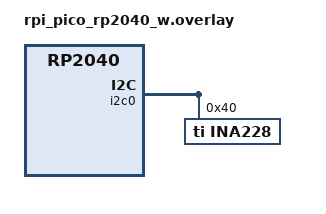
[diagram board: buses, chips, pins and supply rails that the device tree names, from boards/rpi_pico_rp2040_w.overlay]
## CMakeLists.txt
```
# Copyright (c) 2025 Jonas Berg
# SPDX-License-Identifier: Apache-2.0

cmake_minimum_required(VERSION 3.20.0)
find_package(Zephyr REQUIRED HINTS $ENV{ZEPHYR_BASE})

project(ina228)

target_sources(app
  PRIVATE
  src/main.c
)
```

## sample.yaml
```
# Copyright (c) 2025 Jonas Berg
# SPDX-License-Identifier: Apache-2.0

sample:
  name: TI INA228 Power/Energy/Charge Monitor
tests:
  sample.drivers.ina228:
    build_only: true
    platform_allow: rpi_pico/rp2040/w
    tags: sensors
```

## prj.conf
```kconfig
# Copyright (c) 2025 Jonas Berg
# SPDX-License-Identifier: Apache-2.0

CONFIG_STDOUT_CONSOLE=y
CONFIG_CBPRINTF_FP_SUPPORT=y
CONFIG_I2C=y
CONFIG_SENSOR=y

CONFIG_INA228_VSHUNT=y
CONFIG_INA228_TEMPERATURE=y
CONFIG_INA228_CUMULATIVE=y
```

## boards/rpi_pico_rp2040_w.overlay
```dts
/*
 * Copyright (c) 2025 Jonas Berg
 *
 * SPDX-License-Identifier: Apache-2.0
 */

&i2c0 {
	status = "okay";

	ina228@40 {
		compatible = "ti,ina228";
		reg = <0x40>;
		rshunt-micro-ohms = <15000>;
		lsb-nanoamp = <20000>;
		status = "okay";
	};

};
```

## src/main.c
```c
/*
 * Copyright (c) 2025 Jonas Berg
 *
 * SPDX-License-Identifier: Apache-2.0
 */

#include <stdio.h>
#include <zephyr/drivers/sensor.h>
#include <zephyr/kernel.h>

int main(void)
{
	const struct device *const curr_sensor = DEVICE_DT_GET_ONE(ti_ina228);

	struct sensor_value bus_voltage = {0};
	struct sensor_value charge = {0};
	struct sensor_value current = {0};
	struct sensor_value energy = {0};
	struct sensor_value power = {0};
	struct sensor_value shunt_voltage = {0};
	struct sensor_value temperature = {0};
	int err;

	if (!device_is_ready(curr_sensor)) {
		printf("Sensor %s is not ready.\n", curr_sensor->name);
		return -1;
	}

	while (true) {
		err = sensor_sample_fetch(curr_sensor);
		if (err) {
			printf("Failed to fetch sensor data.\n");
			return -1;
		}

		if (sensor_channel_get(curr_sensor, SENSOR_CHAN_VOLTAGE, &bus_voltage)) {
			printf("Failed to get bus_voltage\n");
		}
		if (sensor_channel_get(curr_sensor, SENSOR_CHAN_CHARGE, &charge)) {
			printf("Failed to get charge\n");
		}
		if (sensor_channel_get(curr_sensor, SENSOR_CHAN_CURRENT, &current)) {
			printf("Failed to get current\n");
		}
		if (sensor_channel_get(curr_sensor, SENSOR_CHAN_ENERGY, &energy)) {
			printf("Failed to get energy\n");
		}
		if (sensor_channel_get(curr_sensor, SENSOR_CHAN_POWER, &power)) {
			printf("Failed to get power\n");
		}
		if (sensor_channel_get(curr_sensor, SENSOR_CHAN_VSHUNT, &shunt_voltage)) {
			printf("Failed to get shunt voltage\n");
		}
		if (sensor_channel_get(curr_sensor, SENSOR_CHAN_DIE_TEMP, &temperature)) {
			printf("Failed to get temperature\n");
		}

		printf("Bus %.3f V  Current %.3f A  Power %.3f W  Shunt %.6f V  "
		       "Charge %.6f C  Energy %.6f J  Temp %.1f deg C\n",
		       sensor_value_to_double(&bus_voltage), sensor_value_to_double(&current),
		       sensor_value_to_double(&power), sensor_value_to_double(&shunt_voltage),
		       sensor_value_to_double(&charge), sensor_value_to_double(&energy),
		       sensor_value_to_double(&temperature));

		k_msleep(3000);
	}

	return 0;
}
```
